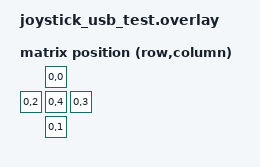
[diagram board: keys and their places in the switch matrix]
#include <dt-bindings/zmk/matrix_transform.h>
#include <physical_layouts.dtsi>

&adc {
    status = "okay";
};

/ {
    chosen {
        zmk,kscan = &joystick_kscan;
        zmk,physical-layout = &joystick_usb_layout;
    };

    joystick_kscan: joystick_kscan {
        compatible = "linus,resistive-joystick";
        io-channels = <&adc 2>, <&adc 3>; /* XIAO D4 = X, D5 = Y */
        press-gpios = <&gpio1 11 (GPIO_ACTIVE_LOW | GPIO_PULL_UP)>; /* D6 */
        poll-period-ms = <10>;
        activation-threshold = <150>;
        release-threshold = <90>;
        calibration-samples = <64>;
    };

    joystick_transform: joystick_transform {
        compatible = "zmk,matrix-transform";
        columns = <5>;
        rows = <1>;
        map = <RC(0,0) RC(0,1) RC(0,2) RC(0,3) RC(0,4)>;
    };

    joystick_usb_layout: joystick_usb_layout {
        compatible = "zmk,physical-layout";
        display-name = "Joystick USB Test";
        transform = <&joystick_transform>;
        keys = <&key_physical_attrs 50 50 50 0 0 0 0>,
               <&key_physical_attrs 50 50 50 100 0 0 0>,
               <&key_physical_attrs 50 50 0 50 0 0 0>,
               <&key_physical_attrs 50 50 100 50 0 0 0>,
               <&key_physical_attrs 50 50 50 50 0 0 0>;
    };
};
